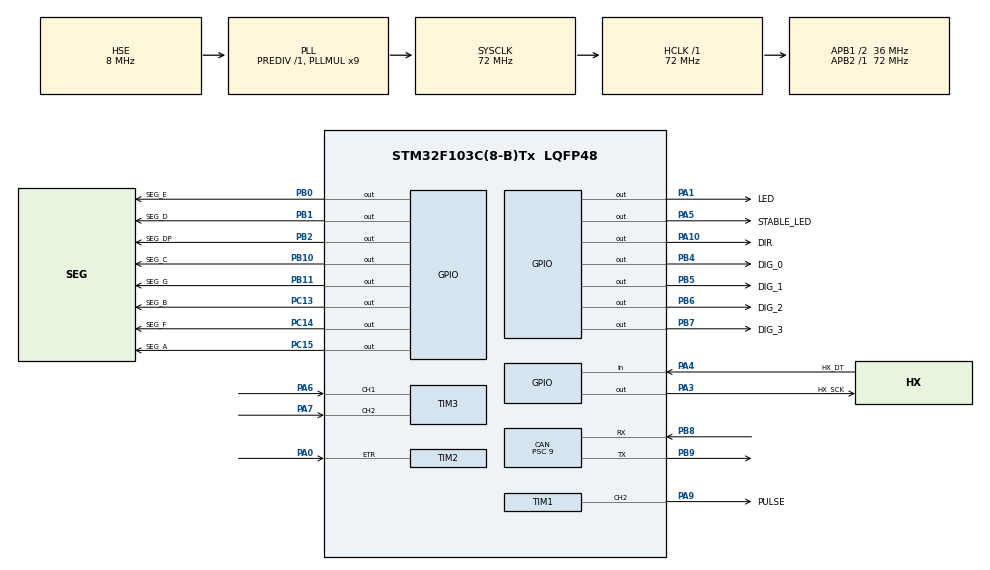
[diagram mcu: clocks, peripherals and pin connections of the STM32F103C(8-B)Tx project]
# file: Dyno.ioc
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CAN.BS1=CAN_BS1_6TQ
CAN.CalculateBaudRate=500000
CAN.CalculateTimeBit=2000
CAN.CalculateTimeQuantum=250.0
CAN.Mode=CAN_MODE_NORMAL
CAN.Prescaler=9
Mcu.Family=STM32F1
Mcu.Name=STM32F103C(8-B)Tx
Mcu.Package=LQFP48
NVIC.PriorityGroup=NVIC_PRIORITYGROUP_4
NVIC.TIM1_CC_IRQn=true\:0\:0\:false\:false\:true\:true\:true\:true
NVIC.TIM1_UP_IRQn=true\:0\:0\:false\:false\:true\:true\:true\:true
NVIC.USB_LP_CAN1_RX0_IRQn=true\:0\:0\:false\:false\:true\:true\:true\:true
PA0-WKUP.Signal=S_TIM2_CH1_ETR
PA1.GPIO_Label=LED
PA1.Signal=GPIO_Output
PA10.GPIO_Label=DIR
PA10.Signal=GPIO_Output
PA13.Mode=Trace_Asynchronous_SW
PA13.Signal=SYS_JTMS-SWDIO
PA14.Mode=Trace_Asynchronous_SW
PA14.Signal=SYS_JTCK-SWCLK
PA3.GPIO_Label=HX_SCK
PA3.Signal=GPIO_Output
PA4.GPIO_Label=HX_DT
PA4.Signal=GPIO_Input
PA5.GPIO_Label=STABLE_LED
PA5.Signal=GPIO_Output
PA6.GPIO_PuPd=GPIO_PULLUP
PA6.Signal=S_TIM3_CH1
PA7.GPIO_PuPd=GPIO_PULLUP
PA7.Signal=S_TIM3_CH2
PA9.GPIO_Label=PULSE
PA9.Signal=S_TIM1_CH2
PB0.GPIO_Label=SEG_E
PB0.Signal=GPIO_Output
PB1.GPIO_Label=SEG_D
PB1.Signal=GPIO_Output
PB10.GPIO_Label=SEG_C
PB10.Signal=GPIO_Output
PB11.GPIO_Label=SEG_G
PB11.Signal=GPIO_Output
PB2.GPIO_Label=SEG_DP
PB2.Signal=GPIO_Output
PB3.Mode=Trace_Asynchronous_SW
PB3.Signal=SYS_JTDO-TRACESWO
PB4.GPIO_Label=DIG_0
PB4.Signal=GPIO_Output
PB5.GPIO_Label=DIG_1
PB5.Signal=GPIO_Output
PB6.GPIO_Label=DIG_2
PB6.Signal=GPIO_Output
PB7.GPIO_Label=DIG_3
PB7.Signal=GPIO_Output
PB8.GPIO_Mode=GPIO_MODE_INPUT
PB8.GPIO_PuPd=GPIO_NOPULL
PB8.Mode=CAN_Activate
PB8.Signal=CAN_RX
PB9.Mode=CAN_Activate
PB9.Signal=CAN_TX
PC13-TAMPER-RTC.GPIO_Label=SEG_B
PC13-TAMPER-RTC.Signal=GPIO_Output
PC14-OSC32_IN.GPIO_Label=SEG_F
PC14-OSC32_IN.Signal=GPIO_Output
PC15-OSC32_OUT.GPIO_Label=SEG_A
PC15-OSC32_OUT.Signal=GPIO_Output
PD0-OSC_IN.Mode=HSE-External-Oscillator
PD0-OSC_IN.Signal=RCC_OSC_IN
PD1-OSC_OUT.Mode=HSE-External-Oscillator
PD1-OSC_OUT.Signal=RCC_OSC_OUT
ProjectManager.HeapSize=0x200
ProjectManager.StackSize=0x400
ProjectManager.TargetToolchain=Makefile
RCC.AHBFreq_Value=72000000
RCC.APB1CLKDivider=RCC_HCLK_DIV2
RCC.APB1Freq_Value=36000000
RCC.APB1TimFreq_Value=72000000
RCC.APB2Freq_Value=72000000
RCC.APB2TimFreq_Value=72000000
RCC.HCLKFreq_Value=72000000
RCC.PLLMUL=RCC_PLL_MUL9
RCC.PLLSourceVirtual=RCC_PLLSOURCE_HSE
RCC.SYSCLKFreq_VALUE=72000000
RCC.SYSCLKSource=RCC_SYSCLKSOURCE_PLLCLK
RCC.USBFreq_Value=72000000
SH.S_TIM1_CH2.0=TIM1_CH2,PWM Generation2 CH2
SH.S_TIM2_CH1_ETR.0=TIM2_ETR,ClockSourceETR_Mode2
SH.S_TIM3_CH1.0=TIM3_CH1,Encoder_Interface
SH.S_TIM3_CH2.0=TIM3_CH2,Encoder_Interface
TIM1.AutoReloadPreload=TIM_AUTORELOAD_PRELOAD_ENABLE
TIM1.Channel-PWM\ Generation2\ CH2=TIM_CHANNEL_2
TIM1.Prescaler=72
TIM1.Pulse-PWM\ Generation2\ CH2=10
TIM3.AutoReloadPreload=TIM_AUTORELOAD_PRELOAD_ENABLE
TIM3.EncoderMode=TIM_ENCODERMODE_TI12
TIM3.IC1Filter=15
TIM3.IC2Filter=15
VP_TIM1_VS_ClockSourceINT.Mode=Internal
board=custom

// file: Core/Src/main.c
/* USER CODE BEGIN Header */
/**
  ******************************************************************************
  * @file           : main.c
  * @brief          : Main program body
  ******************************************************************************
  * @attention
  *
  * Copyright (c) 2023 STMicroelectronics.
  * All rights reserved.
  *
  * This software is licensed under terms that can be found in the LICENSE file
  * in the root directory of this software component.
  * If no LICENSE file comes with this software, it is provided AS-IS.
  *
  ******************************************************************************
  */
/* USER CODE END Header */
#include "main.h"

/* USER CODE BEGIN Includes */
#include "hx711.h"
#include "stepper.h"

#include "can-ids/CAN.h"
/* USER CODE END Includes */

CAN_HandleTypeDef hcan;

TIM_HandleTypeDef htim1;
TIM_HandleTypeDef htim2;
TIM_HandleTypeDef htim3;

/* USER CODE BEGIN PV */
hx711_t load_cell;
uint8_t ready = 0;

uint8_t load_ctrl_ready = 0;
/* USER CODE END PV */

void SystemClock_Config(void);
static void MX_GPIO_Init(void);
static void MX_CAN_Init(void);
static void MX_TIM1_Init(void);
static void MX_TIM2_Init(void);
static void MX_TIM3_Init(void);

/* USER CODE BEGIN 0 */

volatile float current_rpm = 8000;
volatile float target_rpm = DEFAULT_TARGET;

float weight;

// CAN Interrupt handler. Called whenever a new CAN frame is received.
void can_irq(CAN_HandleTypeDef *pcan) {
  // Message header
  CAN_RxHeaderTypeDef msg;
  // Message data. Only filled with as much data as the message contained, the rest is garbage.
  uint8_t data[8];

  // Read the next CAN frame
  HAL_CAN_GetRxMessage(pcan, CAN_RX_FIFO0, &msg, data);

  // Only accept standard CAN IDs, we don't use extended IDs.
  if(msg.IDE == CAN_ID_STD) {
    switch (msg.StdId)
      {
      // Add cases for each CAN ID you want to handle

      // ID 0xB0 is a bootloader command, so reset the mcu when received.
      // No bootloader for this guy :P
      // case 0xB0:
      //   __NVIC_SystemReset(); // Reset to bootloader
      //   break;
      case ECU_1_ID:
        current_rpm = read_field_scaled_float(&ECU_1_rpm, data);
        break;
      default:
        // Default behavior for unrecognized CAN IDs. Probably just ignore.
        break;
      }
  }

}

/* USER CODE END 0 */

int main(void)
{

  /* MCU Configuration--------------------------------------------------------*/

  /* Reset of all peripherals, Initializes the Flash interface and the Systick. */
  HAL_Init();

  /* Configure the system clock */
  SystemClock_Config();

  /* Initialize all configured peripherals */
  MX_GPIO_Init();
  MX_CAN_Init();
  MX_TIM1_Init();
  MX_TIM2_Init();
  MX_TIM3_Init();
  /* USER CODE BEGIN 2 */

  hx711_init(&load_cell, HX_SCK_GPIO_Port, HX_SCK_Pin, HX_DT_GPIO_Port, HX_DT_Pin);

  hx711_coef_set(&load_cell, HX711_CAL_CONSTANT); // read afer calibration
  hx711_tare(&load_cell, 10);
  ready = 1;
  move_to(-20000);
  while(is_moving());
  zero();
  HAL_Delay(500);

  HAL_TIM_Encoder_Start(&htim3, TIM_CHANNEL_ALL);
  load_ctrl_ready = 1;
  /* USER CODE END 2 */

  /* Infinite loop */
  /* USER CODE BEGIN WHILE */
  while (1)
  {
    HAL_GPIO_TogglePin(LED_GPIO_Port, LED_Pin);
    if(current_rpm - target_rpm < RPM_STABLE_THRESH && current_rpm - target_rpm > -RPM_STABLE_THRESH){
      HAL_GPIO_WritePin(STABLE_LED_GPIO_Port, STABLE_LED_Pin, 1);
    } else {
      HAL_GPIO_WritePin(STABLE_LED_GPIO_Port, STABLE_LED_Pin, 0);
    }

    // Read weight (blocking)
    weight = hx711_weight(&load_cell);

    // Send CAN message with dyno data
    // Message header
    CAN_TxHeaderTypeDef m;
    // Use standard ID
    m.IDE = CAN_ID_STD;
    // Set message ID
    m.StdId = DYNO_CONTROLLER_ID;
    // Use CAN_RTR_DATA to transmit data
    // We may use CAN_RTR_REMOTE to request things to send data in the future
    m.RTR = CAN_RTR_DATA;
    // Amount of data
    m.DLC = DYNO_CONTROLLER_DLC;
    // Data to send
    uint16_t dyno_data[4];

    dyno_data[0] = __REV16((uint16_t)current_rpm);
    dyno_data[1] = __REV16((uint16_t)target_rpm);
    dyno_data[2] = __REV16((uint16_t) weight);
    dyno_data[3] = __REV16((uint16_t) get_pos());

    // Send a message
    uint32_t mailbox;
    HAL_CAN_AddTxMessage(&hcan, &m, dyno_data, &mailbox);

    // Wait for message to be sent
    while (HAL_CAN_IsTxMessagePending(&hcan, mailbox));
    /* USER CODE END WHILE */

  }
}

void SystemClock_Config(void)
{
  RCC_OscInitTypeDef RCC_OscInitStruct = {0};
  RCC_ClkInitTypeDef RCC_ClkInitStruct = {0};

  /** Initializes the RCC Oscillators according to the specified parameters
  * in the RCC_OscInitTypeDef structure.
  */
  RCC_OscInitStruct.OscillatorType = RCC_OSCILLATORTYPE_HSE;
  RCC_OscInitStruct.HSEState = RCC_HSE_ON;
  RCC_OscInitStruct.HSEPredivValue = RCC_HSE_PREDIV_DIV1;
  RCC_OscInitStruct.HSIState = RCC_HSI_ON;
  RCC_OscInitStruct.PLL.PLLState = RCC_PLL_ON;
  RCC_OscInitStruct.PLL.PLLSource = RCC_PLLSOURCE_HSE;
  RCC_OscInitStruct.PLL.PLLMUL = RCC_PLL_MUL9;
  if (HAL_RCC_OscConfig(&RCC_OscInitStruct) != HAL_OK)
  {
    Error_Handler();
  }

  /** Initializes the CPU, AHB and APB buses clocks
  */
  RCC_ClkInitStruct.ClockType = RCC_CLOCKTYPE_HCLK|RCC_CLOCKTYPE_SYSCLK
                              |RCC_CLOCKTYPE_PCLK1|RCC_CLOCKTYPE_PCLK2;
  RCC_ClkInitStruct.SYSCLKSource = RCC_SYSCLKSOURCE_PLLCLK;
  RCC_ClkInitStruct.AHBCLKDivider = RCC_SYSCLK_DIV1;
  RCC_ClkInitStruct.APB1CLKDivider = RCC_HCLK_DIV2;
  RCC_ClkInitStruct.APB2CLKDivider = RCC_HCLK_DIV1;

  if (HAL_RCC_ClockConfig(&RCC_ClkInitStruct, FLASH_LATENCY_2) != HAL_OK)
  {
    Error_Handler();
  }
}

static void MX_CAN_Init(void)
{

  hcan.Instance = CAN1;
  hcan.Init.Prescaler = 9;
  hcan.Init.Mode = CAN_MODE_NORMAL;
  hcan.Init.SyncJumpWidth = CAN_SJW_1TQ;
  hcan.Init.TimeSeg1 = CAN_BS1_6TQ;
  hcan.Init.TimeSeg2 = CAN_BS2_1TQ;
  hcan.Init.TimeTriggeredMode = DISABLE;
  hcan.Init.AutoBusOff = DISABLE;
  hcan.Init.AutoWakeUp = DISABLE;
  hcan.Init.AutoRetransmission = DISABLE;
  hcan.Init.ReceiveFifoLocked = DISABLE;
  hcan.Init.TransmitFifoPriority = DISABLE;
  if (HAL_CAN_Init(&hcan) != HAL_OK)
  {
    Error_Handler();
  }
  /* USER CODE BEGIN CAN_Init 2 */
  // Set up filter to accept all CAN messages
  CAN_FilterTypeDef sf;
  sf.FilterMaskIdHigh = 0x0000;
  sf.FilterMaskIdLow = 0x0000;
  sf.FilterFIFOAssignment = CAN_FILTER_FIFO0;
  sf.FilterBank = 0;
  sf.FilterMode = CAN_FILTERMODE_IDMASK;
  sf.FilterScale = CAN_FILTERSCALE_32BIT;
  sf.FilterActivation = CAN_FILTER_ENABLE;

  if (HAL_CAN_ConfigFilter(&hcan, &sf) != HAL_OK) {
    Error_Handler();
  }

  // Sets up a callback to can_irq(...) which will be called each time a CAN message is received.
  if (HAL_CAN_RegisterCallback(&hcan, HAL_CAN_RX_FIFO0_MSG_PENDING_CB_ID, can_irq)) {
    Error_Handler();
  }

  if (HAL_CAN_Start(&hcan) != HAL_OK) {
    Error_Handler();
  }

  // Enables interrupts
  if (HAL_CAN_ActivateNotification(&hcan, CAN_IT_RX_FIFO0_MSG_PENDING) != HAL_OK) {
    Error_Handler();
  }

  /* USER CODE END CAN_Init 2 */

}

static void MX_TIM1_Init(void)
{

  TIM_ClockConfigTypeDef sClockSourceConfig = {0};
  TIM_MasterConfigTypeDef sMasterConfig = {0};
  TIM_OC_InitTypeDef sConfigOC = {0};
  TIM_BreakDeadTimeConfigTypeDef sBreakDeadTimeConfig = {0};

  htim1.Instance = TIM1;
  htim1.Init.Prescaler = 72;
  htim1.Init.CounterMode = TIM_COUNTERMODE_UP;
  htim1.Init.Period = 65535;
  htim1.Init.ClockDivision = TIM_CLOCKDIVISION_DIV1;
  htim1.Init.RepetitionCounter = 0;
  htim1.Init.AutoReloadPreload = TIM_AUTORELOAD_PRELOAD_ENABLE;
  if (HAL_TIM_Base_Init(&htim1) != HAL_OK)
  {
    Error_Handler();
  }
  sClockSourceConfig.ClockSource = TIM_CLOCKSOURCE_INTERNAL;
  if (HAL_TIM_ConfigClockSource(&htim1, &sClockSourceConfig) != HAL_OK)
  {
    Error_Handler();
  }
  if (HAL_TIM_PWM_Init(&htim1) != HAL_OK)
  {
    Error_Handler();
  }
  sMasterConfig.MasterOutputTrigger = TIM_TRGO_RESET;
  sMasterConfig.MasterSlaveMode = TIM_MASTERSLAVEMODE_DISABLE;
  if (HAL_TIMEx_MasterConfigSynchronization(&htim1, &sMasterConfig) != HAL_OK)
  {
    Error_Handler();
  }
  sConfigOC.OCMode = TIM_OCMODE_PWM1;
  sConfigOC.Pulse = 10;
  sConfigOC.OCPolarity = TIM_OCPOLARITY_HIGH;
  sConfigOC.OCNPolarity = TIM_OCNPOLARITY_HIGH;
  sConfigOC.OCFastMode = TIM_OCFAST_DISABLE;
  sConfigOC.OCIdleState = TIM_OCIDLESTATE_RESET;
  sConfigOC.OCNIdleState = TIM_OCNIDLESTATE_RESET;
  if (HAL_TIM_PWM_ConfigChannel(&htim1, &sConfigOC, TIM_CHANNEL_2) != HAL_OK)
  {
    Error_Handler();
  }
  sBreakDeadTimeConfig.OffStateRunMode = TIM_OSSR_DISABLE;
  sBreakDeadTimeConfig.OffStateIDLEMode = TIM_OSSI_DISABLE;
  sBreakDeadTimeConfig.LockLevel = TIM_LOCKLEVEL_OFF;
  sBreakDeadTimeConfig.DeadTime = 0;
  sBreakDeadTimeConfig.BreakState = TIM_BREAK_DISABLE;
  sBreakDeadTimeConfig.BreakPolarity = TIM_BREAKPOLARITY_HIGH;
  sBreakDeadTimeConfig.AutomaticOutput = TIM_AUTOMATICOUTPUT_DISABLE;
  if (HAL_TIMEx_ConfigBreakDeadTime(&htim1, &sBreakDeadTimeConfig) != HAL_OK)
  {
    Error_Handler();
  }
  HAL_TIM_MspPostInit(&htim1);

}

static void MX_TIM2_Init(void)
{

  TIM_ClockConfigTypeDef sClockSourceConfig = {0};
  TIM_MasterConfigTypeDef sMasterConfig = {0};

  htim2.Instance = TIM2;
  htim2.Init.Prescaler = 0;
  htim2.Init.CounterMode = TIM_COUNTERMODE_UP;
  htim2.Init.Period = 65535;
  htim2.Init.ClockDivision = TIM_CLOCKDIVISION_DIV1;
  htim2.Init.AutoReloadPreload = TIM_AUTORELOAD_PRELOAD_DISABLE;
  if (HAL_TIM_Base_Init(&htim2) != HAL_OK)
  {
    Error_Handler();
  }
  sClockSourceConfig.ClockSource = TIM_CLOCKSOURCE_ETRMODE2;
  sClockSourceConfig.ClockPolarity = TIM_CLOCKPOLARITY_NONINVERTED;
  sClockSourceConfig.ClockPrescaler = TIM_CLOCKPRESCALER_DIV1;
  sClockSourceConfig.ClockFilter = 0;
  if (HAL_TIM_ConfigClockSource(&htim2, &sClockSourceConfig) != HAL_OK)
  {
    Error_Handler();
  }
  sMasterConfig.MasterOutputTrigger = TIM_TRGO_RESET;
  sMasterConfig.MasterSlaveMode = TIM_MASTERSLAVEMODE_DISABLE;
  if (HAL_TIMEx_MasterConfigSynchronization(&htim2, &sMasterConfig) != HAL_OK)
  {
    Error_Handler();
  }

}

static void MX_TIM3_Init(void)
{

  TIM_Encoder_InitTypeDef sConfig = {0};
  TIM_MasterConfigTypeDef sMasterConfig = {0};

  htim3.Instance = TIM3;
  htim3.Init.Prescaler = 0;
  htim3.Init.CounterMode = TIM_COUNTERMODE_UP;
  htim3.Init.Period = 65535;
  htim3.Init.ClockDivision = TIM_CLOCKDIVISION_DIV1;
  htim3.Init.AutoReloadPreload = TIM_AUTORELOAD_PRELOAD_ENABLE;
  sConfig.EncoderMode = TIM_ENCODERMODE_TI12;
  sConfig.IC1Polarity = TIM_ICPOLARITY_RISING;
  sConfig.IC1Selection = TIM_ICSELECTION_DIRECTTI;
  sConfig.IC1Prescaler = TIM_ICPSC_DIV1;
  sConfig.IC1Filter = 15;
  sConfig.IC2Polarity = TIM_ICPOLARITY_RISING;
  sConfig.IC2Selection = TIM_ICSELECTION_DIRECTTI;
  sConfig.IC2Prescaler = TIM_ICPSC_DIV1;
  sConfig.IC2Filter = 15;
  if (HAL_TIM_Encoder_Init(&htim3, &sConfig) != HAL_OK)
  {
    Error_Handler();
  }
  sMasterConfig.MasterOutputTrigger = TIM_TRGO_RESET;
  sMasterConfig.MasterSlaveMode = TIM_MASTERSLAVEMODE_DISABLE;
  if (HAL_TIMEx_MasterConfigSynchronization(&htim3, &sMasterConfig) != HAL_OK)
  {
    Error_Handler();
  }

}

static void MX_GPIO_Init(void)
{
  GPIO_InitTypeDef GPIO_InitStruct = {0};

  /* GPIO Ports Clock Enable */
  __HAL_RCC_GPIOC_CLK_ENABLE();
  __HAL_RCC_GPIOD_CLK_ENABLE();
  __HAL_RCC_GPIOA_CLK_ENABLE();
  __HAL_RCC_GPIOB_CLK_ENABLE();

  /*Configure GPIO pin Output Level */
  HAL_GPIO_WritePin(GPIOC, SEG_B_Pin|SEG_F_Pin|SEG_A_Pin, GPIO_PIN_RESET);

  /*Configure GPIO pin Output Level */
  HAL_GPIO_WritePin(GPIOA, LED_Pin|HX_SCK_Pin|STABLE_LED_Pin|DIR_Pin, GPIO_PIN_RESET);

  /*Configure GPIO pin Output Level */
  HAL_GPIO_WritePin(GPIOB, SEG_E_Pin|SEG_D_Pin|SEG_DP_Pin|SEG_C_Pin
                          |SEG_G_Pin|DIG_0_Pin|DIG_1_Pin|DIG_2_Pin
                          |DIG_3_Pin, GPIO_PIN_RESET);

  /*Configure GPIO pins : SEG_B_Pin SEG_F_Pin SEG_A_Pin */
  GPIO_InitStruct.Pin = SEG_B_Pin|SEG_F_Pin|SEG_A_Pin;
  GPIO_InitStruct.Mode = GPIO_MODE_OUTPUT_PP;
  GPIO_InitStruct.Pull = GPIO_NOPULL;
  GPIO_InitStruct.Speed = GPIO_SPEED_FREQ_LOW;
  HAL_GPIO_Init(GPIOC, &GPIO_InitStruct);

  /*Configure GPIO pins : LED_Pin HX_SCK_Pin STABLE_LED_Pin DIR_Pin */
  GPIO_InitStruct.Pin = LED_Pin|HX_SCK_Pin|STABLE_LED_Pin|DIR_Pin;
  GPIO_InitStruct.Mode = GPIO_MODE_OUTPUT_PP;
  GPIO_InitStruct.Pull = GPIO_NOPULL;
  GPIO_InitStruct.Speed = GPIO_SPEED_FREQ_LOW;
  HAL_GPIO_Init(GPIOA, &GPIO_InitStruct);

  /*Configure GPIO pin : HX_DT_Pin */
  GPIO_InitStruct.Pin = HX_DT_Pin;
  GPIO_InitStruct.Mode = GPIO_MODE_INPUT;
  GPIO_InitStruct.Pull = GPIO_NOPULL;
  HAL_GPIO_Init(HX_DT_GPIO_Port, &GPIO_InitStruct);

  /*Configure GPIO pins : SEG_E_Pin SEG_D_Pin SEG_DP_Pin SEG_C_Pin
                           SEG_G_Pin DIG_0_Pin DIG_1_Pin DIG_2_Pin
                           DIG_3_Pin */
  GPIO_InitStruct.Pin = SEG_E_Pin|SEG_D_Pin|SEG_DP_Pin|SEG_C_Pin
                          |SEG_G_Pin|DIG_0_Pin|DIG_1_Pin|DIG_2_Pin
                          |DIG_3_Pin;
  GPIO_InitStruct.Mode = GPIO_MODE_OUTPUT_PP;
  GPIO_InitStruct.Pull = GPIO_NOPULL;
  GPIO_InitStruct.Speed = GPIO_SPEED_FREQ_LOW;
  HAL_GPIO_Init(GPIOB, &GPIO_InitStruct);

}

void Error_Handler(void)
{
  __disable_irq();
  while (1)
  {
  }
}
